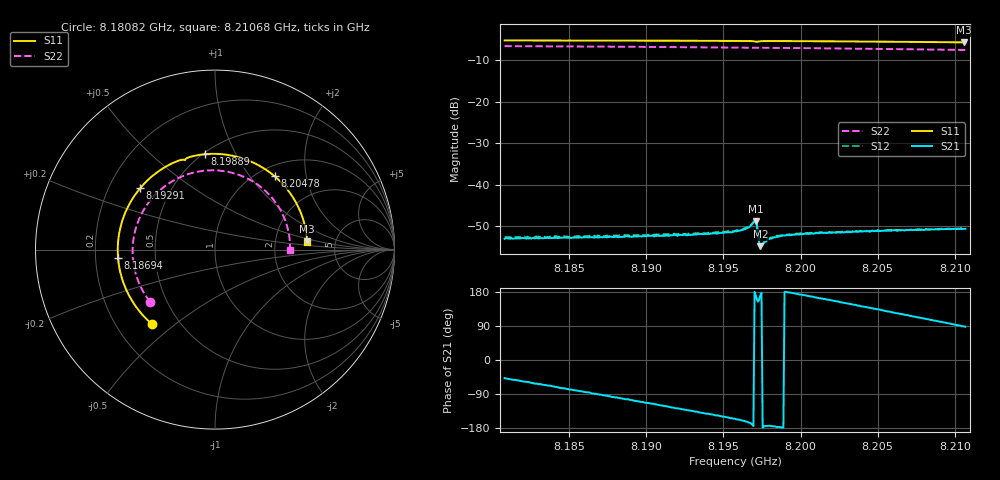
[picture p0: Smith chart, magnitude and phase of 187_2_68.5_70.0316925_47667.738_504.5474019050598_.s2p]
#  HZ  S  RI  R  50.00
! Rohde & Schwarz Vector Network Analyzer
! Rohde-Schwarz,ZNB20-2Port,1311601062101988,3.16
! Created: UTC 3/20/2024, 4:56:57 PM
! freq[Hz]  re:S11  im:S11  re:S21  im:S21  re:S12  im:S12  re:S22  im:S22
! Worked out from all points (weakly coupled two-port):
!   401 points, 8.18082 GHz to 8.21068 GHz, reference 50 ohm
!   highest |S21| = -48.84 dB at 8.19709 GHz (marker M1); lowest = -54.8 dB at 8.19739 GHz (marker M2)
!   lowest |S11| = -5.8 dB at 8.21061 GHz (marker M3), VSWR 3.13, Z = 154 + j19.7 ohm
!   |S11| at or under -10 dB: nowhere
!   |S22| runs from -7.6 to -6.7 dB; largest |S21 - S12| = 0.00017
!   S11 on the Smith chart (normalised r, x): 8.18082 GHz: 0.35, -0.42; 8.18694 GHz: 0.30, -0.04; 8.19291 GHz: 0.33, +0.32; 8.19889 GHz: 0.51, +0.76; 8.20478 GHz: 1.18, +1.33; 8.21068 GHz: 3.08, +0.35
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8.180822e9  -0.3509 -0.4154  0.0015 -0.00165  0.00155 -0.00172  -0.363 -0.2902
8.183435e9  -0.4671 -0.2772  0.000923 -0.00209  0.000917 -0.00218  -0.4325 -0.1629
8.185823e9  -0.5283 -0.1232  0.000281 -0.00228  0.000228 -0.0024  -0.4584 -0.0333
8.186943e9  -0.5402 -0.0461  -3.06e-05 -0.00232  -6.97e-05 -0.00243  -0.4577 0.0288
8.188884e9  -0.534 0.0892  -0.000594 -0.0023  -0.000664 -0.00235  -0.4363 0.1339
8.190824e9  -0.4943 0.2187  -0.00117 -0.00212  -0.00128 -0.00216  -0.3912 0.2314
8.192914e9  -0.4165 0.3428  -0.00173 -0.0018  -0.00185 -0.00178  -0.3176 0.321
8.195751e9  -0.2624 0.4689  -0.0025 -0.00116  -0.00259 -0.00105  -0.1856 0.4071
8.196497e9  -0.2137 0.4916  -0.00286 -0.000893  -0.00295 -0.000832  -0.1465 0.4216
8.196945e9  -0.1808 0.5008  -0.00348 -0.000344  -0.00357 -0.000214  -0.122 0.4284
8.197094e9  -0.17 0.4989  -0.00357 0.000567  -0.00361 0.00071  -0.1139 0.4302
8.197393e9  -0.1612 0.5068  -0.0018 0.0003  -0.00182 0.000403  -0.0978 0.4338
8.197542e9  -0.1506 0.5124  -0.00188 -5.1e-05  -0.00194 1.74e-05  -0.0894 0.4353
8.19799e9  -0.1183 0.5218  -0.00221 -0.000253  -0.00227 -0.000155  -0.0644 0.439
8.198886e9  -0.0549 0.5315  -0.00245 -4.34e-05  -0.00249 2.95e-05  -0.0137 0.4419
8.200752e9  0.077 0.5268  -0.00254 0.000575  -0.00254 0.000717  0.0912 0.4291
8.202693e9  0.2081 0.4872  -0.00237 0.00128  -0.00236 0.00136  0.1945 0.3888
8.204783e9  0.3327 0.4082  -0.00196 0.00194  -0.00191 0.00205  0.2913 0.3169
8.205753e9  0.382 0.3602  -0.00172 0.0022  -0.00167 0.00231  0.3288 0.2746
8.208216e9  0.4752 0.2125  -0.000878 0.00276  -0.000811 0.00277  0.3968 0.1464
8.210605e9  0.5133 0.0471  6.92e-05 0.00294  0.000151 0.00298  0.4182 0.00484
8.21068e9  0.5138 0.0416  0.000107 0.00294  0.000191 0.00298  0.4181 0.000366
